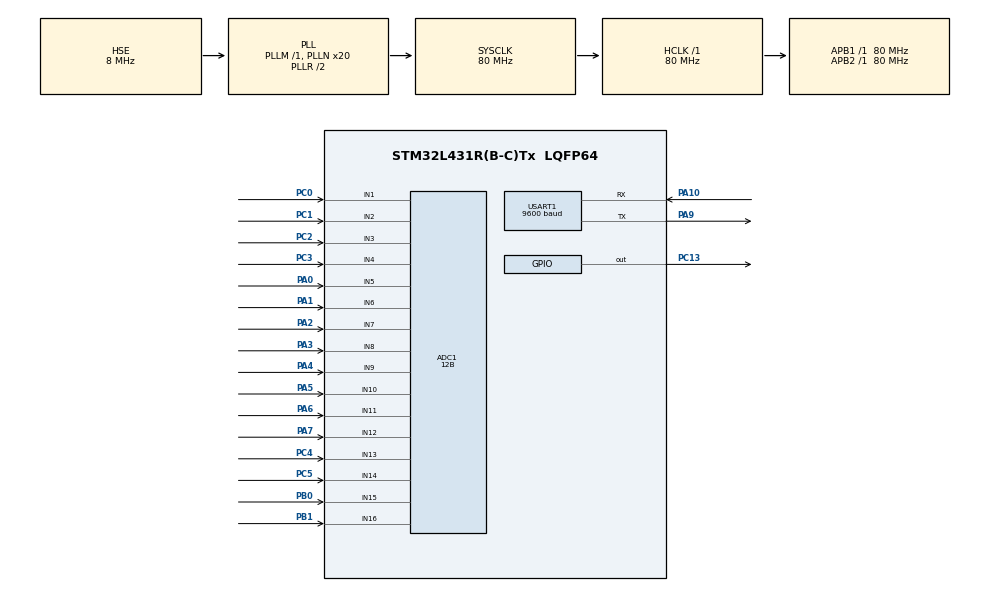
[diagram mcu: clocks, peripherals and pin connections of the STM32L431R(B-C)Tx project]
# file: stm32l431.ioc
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ADC1.Channel-0\#ChannelRegularConversion=ADC_CHANNEL_1
ADC1.Channel-1\#ChannelRegularConversion=ADC_CHANNEL_2
ADC1.Channel-10\#ChannelRegularConversion=ADC_CHANNEL_11
ADC1.Channel-11\#ChannelRegularConversion=ADC_CHANNEL_12
ADC1.Channel-12\#ChannelRegularConversion=ADC_CHANNEL_13
ADC1.Channel-13\#ChannelRegularConversion=ADC_CHANNEL_14
ADC1.Channel-14\#ChannelRegularConversion=ADC_CHANNEL_15
ADC1.Channel-15\#ChannelRegularConversion=ADC_CHANNEL_16
ADC1.Channel-2\#ChannelRegularConversion=ADC_CHANNEL_3
ADC1.Channel-3\#ChannelRegularConversion=ADC_CHANNEL_4
ADC1.Channel-4\#ChannelRegularConversion=ADC_CHANNEL_5
ADC1.Channel-5\#ChannelRegularConversion=ADC_CHANNEL_6
ADC1.Channel-6\#ChannelRegularConversion=ADC_CHANNEL_7
ADC1.Channel-7\#ChannelRegularConversion=ADC_CHANNEL_8
ADC1.Channel-8\#ChannelRegularConversion=ADC_CHANNEL_9
ADC1.Channel-9\#ChannelRegularConversion=ADC_CHANNEL_10
ADC1.ClockPrescaler=ADC_CLOCK_ASYNC_DIV2
ADC1.ContinuousConvMode=ENABLE
ADC1.DMAContinuousRequests=ENABLE
ADC1.NbrOfConversion=16
ADC1.NbrOfConversionFlag=1
ADC1.OffsetNumber-0\#ChannelRegularConversion=ADC_OFFSET_NONE
ADC1.OffsetNumber-1\#ChannelRegularConversion=ADC_OFFSET_NONE
ADC1.OffsetNumber-10\#ChannelRegularConversion=ADC_OFFSET_NONE
ADC1.OffsetNumber-11\#ChannelRegularConversion=ADC_OFFSET_NONE
ADC1.OffsetNumber-12\#ChannelRegularConversion=ADC_OFFSET_NONE
ADC1.OffsetNumber-13\#ChannelRegularConversion=ADC_OFFSET_NONE
ADC1.OffsetNumber-14\#ChannelRegularConversion=ADC_OFFSET_NONE
ADC1.OffsetNumber-15\#ChannelRegularConversion=ADC_OFFSET_NONE
ADC1.OffsetNumber-2\#ChannelRegularConversion=ADC_OFFSET_NONE
ADC1.OffsetNumber-3\#ChannelRegularConversion=ADC_OFFSET_NONE
ADC1.OffsetNumber-4\#ChannelRegularConversion=ADC_OFFSET_NONE
ADC1.OffsetNumber-5\#ChannelRegularConversion=ADC_OFFSET_NONE
ADC1.OffsetNumber-6\#ChannelRegularConversion=ADC_OFFSET_NONE
ADC1.OffsetNumber-7\#ChannelRegularConversion=ADC_OFFSET_NONE
ADC1.OffsetNumber-8\#ChannelRegularConversion=ADC_OFFSET_NONE
ADC1.OffsetNumber-9\#ChannelRegularConversion=ADC_OFFSET_NONE
ADC1.Rank-0\#ChannelRegularConversion=1
ADC1.Rank-1\#ChannelRegularConversion=2
ADC1.Rank-10\#ChannelRegularConversion=11
ADC1.Rank-11\#ChannelRegularConversion=12
ADC1.Rank-12\#ChannelRegularConversion=13
ADC1.Rank-13\#ChannelRegularConversion=14
ADC1.Rank-14\#ChannelRegularConversion=15
ADC1.Rank-15\#ChannelRegularConversion=16
ADC1.Rank-2\#ChannelRegularConversion=3
ADC1.Rank-3\#ChannelRegularConversion=4
ADC1.Rank-4\#ChannelRegularConversion=5
ADC1.Rank-5\#ChannelRegularConversion=6
ADC1.Rank-6\#ChannelRegularConversion=7
ADC1.Rank-7\#ChannelRegularConversion=8
ADC1.Rank-8\#ChannelRegularConversion=9
ADC1.Rank-9\#ChannelRegularConversion=10
ADC1.Resolution=ADC_RESOLUTION_12B
ADC1.SamplingTime-0\#ChannelRegularConversion=ADC_SAMPLETIME_2CYCLES_5
ADC1.SamplingTime-1\#ChannelRegularConversion=ADC_SAMPLETIME_2CYCLES_5
ADC1.SamplingTime-10\#ChannelRegularConversion=ADC_SAMPLETIME_2CYCLES_5
ADC1.SamplingTime-11\#ChannelRegularConversion=ADC_SAMPLETIME_2CYCLES_5
ADC1.SamplingTime-12\#ChannelRegularConversion=ADC_SAMPLETIME_2CYCLES_5
ADC1.SamplingTime-13\#ChannelRegularConversion=ADC_SAMPLETIME_2CYCLES_5
ADC1.SamplingTime-14\#ChannelRegularConversion=ADC_SAMPLETIME_2CYCLES_5
ADC1.SamplingTime-15\#ChannelRegularConversion=ADC_SAMPLETIME_2CYCLES_5
ADC1.SamplingTime-2\#ChannelRegularConversion=ADC_SAMPLETIME_2CYCLES_5
ADC1.SamplingTime-3\#ChannelRegularConversion=ADC_SAMPLETIME_2CYCLES_5
ADC1.SamplingTime-4\#ChannelRegularConversion=ADC_SAMPLETIME_2CYCLES_5
ADC1.SamplingTime-5\#ChannelRegularConversion=ADC_SAMPLETIME_2CYCLES_5
ADC1.SamplingTime-6\#ChannelRegularConversion=ADC_SAMPLETIME_2CYCLES_5
ADC1.SamplingTime-7\#ChannelRegularConversion=ADC_SAMPLETIME_2CYCLES_5
ADC1.SamplingTime-8\#ChannelRegularConversion=ADC_SAMPLETIME_2CYCLES_5
ADC1.SamplingTime-9\#ChannelRegularConversion=ADC_SAMPLETIME_2CYCLES_5
ADC1.master=1
Dma.ADC1.0.Direction=DMA_PERIPH_TO_MEMORY
Dma.ADC1.0.Instance=DMA1_Channel1
Dma.ADC1.0.MemDataAlignment=DMA_MDATAALIGN_HALFWORD
Dma.ADC1.0.MemInc=DMA_MINC_ENABLE
Dma.ADC1.0.Mode=DMA_CIRCULAR
Dma.ADC1.0.PeriphDataAlignment=DMA_PDATAALIGN_HALFWORD
Dma.ADC1.0.PeriphInc=DMA_PINC_DISABLE
Dma.ADC1.0.Priority=DMA_PRIORITY_LOW
Dma.Request0=ADC1
Mcu.Family=STM32L4
Mcu.Name=STM32L431R(B-C)Tx
Mcu.Package=LQFP64
NVIC.ADC1_IRQn=true\:0\:0\:false\:false\:true\:true\:true\:true
NVIC.DMA1_Channel1_IRQn=true\:0\:0\:false\:false\:true\:false\:true\:true
NVIC.PriorityGroup=NVIC_PRIORITYGROUP_4
NVIC.USART1_IRQn=true\:0\:0\:false\:false\:true\:true\:true\:true
PA0.Signal=ADCx_IN5
PA1.Signal=ADCx_IN6
PA10.Mode=Asynchronous
PA10.Signal=USART1_RX
PA13\ (JTMS-SWDIO).Mode=Serial_Wire
PA13\ (JTMS-SWDIO).Signal=SYS_JTMS-SWDIO
PA14\ (JTCK-SWCLK).Mode=Serial_Wire
PA14\ (JTCK-SWCLK).Signal=SYS_JTCK-SWCLK
PA2.Signal=ADCx_IN7
PA3.Signal=ADCx_IN8
PA4.Signal=ADCx_IN9
PA5.Signal=ADCx_IN10
PA6.Signal=ADCx_IN11
PA7.Signal=ADCx_IN12
PA9.Mode=Asynchronous
PA9.Signal=USART1_TX
PB0.Signal=ADCx_IN15
PB1.Signal=ADCx_IN16
PC0.Signal=ADCx_IN1
PC1.Signal=ADCx_IN2
PC13.GPIO_PuPd=GPIO_PULLUP
PC13.Signal=GPIO_Output
PC2.Signal=ADCx_IN3
PC3.Signal=ADCx_IN4
PC4.Signal=ADCx_IN13
PC5.Signal=ADCx_IN14
PH0-OSC_IN\ (PH0).Mode=HSE-External-Oscillator
PH0-OSC_IN\ (PH0).Signal=RCC_OSC_IN
PH1-OSC_OUT\ (PH1).Mode=HSE-External-Oscillator
PH1-OSC_OUT\ (PH1).Signal=RCC_OSC_OUT
ProjectManager.HeapSize=0x200
ProjectManager.StackSize=0x400
ProjectManager.TargetToolchain=STM32CubeIDE
RCC.ADCFreq_Value=32000000
RCC.AHBFreq_Value=80000000
RCC.APB1Freq_Value=80000000
RCC.APB1TimFreq_Value=80000000
RCC.APB2Freq_Value=80000000
RCC.APB2TimFreq_Value=80000000
RCC.CortexFreq_Value=80000000
RCC.HCLKFreq_Value=80000000
RCC.HSE_VALUE=8000000
RCC.HSI48_VALUE=48000000
RCC.HSI_VALUE=16000000
RCC.LSE_VALUE=32768
RCC.MSI_VALUE=4000000
RCC.PLLN=20
RCC.PLLSourceVirtual=RCC_PLLSOURCE_HSE
RCC.SYSCLKFreq_VALUE=80000000
RCC.SYSCLKSource=RCC_SYSCLKSOURCE_PLLCLK
RCC.VCOOutputFreq_Value=160000000
SH.ADCx_IN1.0=ADC1_IN1,IN1-Single-Ended
SH.ADCx_IN10.0=ADC1_IN10,IN10-Single-Ended
SH.ADCx_IN11.0=ADC1_IN11,IN11-Single-Ended
SH.ADCx_IN12.0=ADC1_IN12,IN12-Single-Ended
SH.ADCx_IN13.0=ADC1_IN13,IN13-Single-Ended
SH.ADCx_IN14.0=ADC1_IN14,IN14-Single-Ended
SH.ADCx_IN15.0=ADC1_IN15,IN15-Single-Ended
SH.ADCx_IN16.0=ADC1_IN16,IN16-Single-Ended
SH.ADCx_IN2.0=ADC1_IN2,IN2-Single-Ended
SH.ADCx_IN3.0=ADC1_IN3,IN3-Single-Ended
SH.ADCx_IN4.0=ADC1_IN4,IN4-Single-Ended
SH.ADCx_IN5.0=ADC1_IN5,IN5-Single-Ended
SH.ADCx_IN6.0=ADC1_IN6,IN6-Single-Ended
SH.ADCx_IN7.0=ADC1_IN7,IN7-Single-Ended
SH.ADCx_IN8.0=ADC1_IN8,IN8-Single-Ended
SH.ADCx_IN9.0=ADC1_IN9,IN9-Single-Ended
USART1.BaudRate=9600
USART1.VirtualMode-Asynchronous=VM_ASYNC
board=custom

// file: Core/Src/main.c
/* USER CODE BEGIN Header */
/**
  ******************************************************************************
  * @file           : main.c
  * @brief          : Main program body
  ******************************************************************************
  * @attention
  *
  * Copyright (c) 2024 STMicroelectronics.
  * All rights reserved.
  *
  * This software is licensed under terms that can be found in the LICENSE file
  * in the root directory of this software component.
  * If no LICENSE file comes with this software, it is provided AS-IS.
  *
  ******************************************************************************
  */
/* USER CODE END Header */
#include "main.h"

/* USER CODE BEGIN Includes */
#include <string.h>

//#include <stdio.h>

/* USER CODE END Includes */

/* USER CODE BEGIN PD */

#define RX_BUFFER_SIZE 2  // Adjusted to 2 for "rq"

#define OFFSET_SENSOR 3550
/*TODO: should be dynamic by sampling*/
#define MIN_IR_VALUE 0
#define MAX_IR_VALUE 70
#define WEIGHTED_1 			1
#define WEIGHTED_2 			2
#define WEIGHTED_3 			3
#define MAX_SUM_2_IR 		120
#define MAX_SUM_ALL_IR 		(2*MAX_SUM_2_IR + MAX_IR_VALUE)

/* USER CODE END PD */

ADC_HandleTypeDef hadc1;
DMA_HandleTypeDef hdma_adc1;

UART_HandleTypeDef huart1;

/* USER CODE BEGIN PV */
uint8_t rx_buffer[RX_BUFFER_SIZE];  // Buffer to hold incoming data
uint8_t READY_FLAG = 0; /*0-not ready transmit, 1-ready transmit data*/

uint8_t FLAG_UART_SEND = 0;
uint8_t ACK_UART_SEND = 1;

uint8_t data[] = "Hello World\n";
uint16_t adc_buffer[16] = {0};
int16_t after_offset[16] = {0};

int16_t SENSOR_OFFSET[16] = {3380, 3500, 3500, 3500, 3500, 3500, 3500, 3600,0,0,0,0,0,0,0,0};

uint8_t working_sensor_horizontal = 0;
uint8_t working_sensor_vertical = 0;
uint8_t working_sensor_total = 0;
int16_t horizontal_value = 0; // ---
int16_t vertical_value = 0;   //   |
int16_t last_horizon_value = 0;
int16_t last_vertical_value = 0;
uint8_t mapped_horizon_value = 0;
uint8_t mapped_vertical_value = 0;
uint8_t line_direction = 2; // 0-horizon	1-vertical	2-unknown
uint8_t directional = 1; // 1-left|2-mid|3-right

uint16_t while_counter = 0;
uint16_t sending_counter = 0;
uint16_t receive_counter = 0;

volatile uint8_t tx_data = 0;
uint8_t rx_data = 0;
const uint8_t length = 5;
uint8_t packed_data[5] = {0};

/* USER CODE END PV */

void SystemClock_Config(void);
static void MX_GPIO_Init(void);
static void MX_DMA_Init(void);
static void MX_ADC1_Init(void);
static void MX_USART1_UART_Init(void);
/* USER CODE BEGIN PFP */
int16_t ProcessLineSensor(void);
uint8_t map(int input, int input_min, int input_max, int output_min, int output_max);
void Flush_UART_RX_Buffer(UART_HandleTypeDef *huart);
void TransmitPackedData(uint8_t sensor_data, uint8_t direction, uint8_t *ack);

/* USER CODE END PFP */

int main(void)
{

  /* MCU Configuration--------------------------------------------------------*/

  /* Reset of all peripherals, Initializes the Flash interface and the Systick. */
  HAL_Init();

  /* Configure the system clock */
  SystemClock_Config();

  /* Initialize all configured peripherals */
  MX_GPIO_Init();
  MX_DMA_Init();
  MX_ADC1_Init();
  MX_USART1_UART_Init();
  /* USER CODE BEGIN 2 */
  HAL_UART_Transmit(&huart1, data, sizeof(data), 1000);
  /*sync uart signal*/
  // Timeout variables
//  uint32_t start_time = HAL_GetTick();
//  uint32_t timeout = 5000; // 5 seconds timeout
  // Loop to continuously check for 'r' character with timeout
  HAL_UART_Receive_IT(&huart1, rx_buffer, RX_BUFFER_SIZE);

  for (int i =0; i < 3; i++) {
  	  HAL_GPIO_TogglePin(GPIOC, GPIO_PIN_13);
  	  HAL_Delay(100);
    }
  HAL_Delay(1000);
  READY_FLAG = 1;/*init is done, ready to transmit*/

  /* USER CODE END 2 */

  /* Infinite loop */
  while (1)
  {

    /* USER CODE BEGIN 3 */
	HAL_ADC_Start_DMA(&hadc1, (uint32_t*)adc_buffer, 16);
//	HAL_Delay(10);
	ProcessLineSensor();

	while_counter++;
	if (while_counter >=10000) while_counter = 0;
  }
  /* USER CODE END 3 */
}

void SystemClock_Config(void)
{
  RCC_OscInitTypeDef RCC_OscInitStruct = {0};
  RCC_ClkInitTypeDef RCC_ClkInitStruct = {0};

  /** Configure the main internal regulator output voltage
  */
  if (HAL_PWREx_ControlVoltageScaling(PWR_REGULATOR_VOLTAGE_SCALE1) != HAL_OK)
  {
    Error_Handler();
  }

  /** Initializes the RCC Oscillators according to the specified parameters
  * in the RCC_OscInitTypeDef structure.
  */
  RCC_OscInitStruct.OscillatorType = RCC_OSCILLATORTYPE_HSE;
  RCC_OscInitStruct.HSEState = RCC_HSE_ON;
  RCC_OscInitStruct.PLL.PLLState = RCC_PLL_ON;
  RCC_OscInitStruct.PLL.PLLSource = RCC_PLLSOURCE_HSE;
  RCC_OscInitStruct.PLL.PLLM = 1;
  RCC_OscInitStruct.PLL.PLLN = 20;
  RCC_OscInitStruct.PLL.PLLP = RCC_PLLP_DIV7;
  RCC_OscInitStruct.PLL.PLLQ = RCC_PLLQ_DIV2;
  RCC_OscInitStruct.PLL.PLLR = RCC_PLLR_DIV2;
  if (HAL_RCC_OscConfig(&RCC_OscInitStruct) != HAL_OK)
  {
    Error_Handler();
  }

  /** Initializes the CPU, AHB and APB buses clocks
  */
  RCC_ClkInitStruct.ClockType = RCC_CLOCKTYPE_HCLK|RCC_CLOCKTYPE_SYSCLK
                              |RCC_CLOCKTYPE_PCLK1|RCC_CLOCKTYPE_PCLK2;
  RCC_ClkInitStruct.SYSCLKSource = RCC_SYSCLKSOURCE_PLLCLK;
  RCC_ClkInitStruct.AHBCLKDivider = RCC_SYSCLK_DIV1;
  RCC_ClkInitStruct.APB1CLKDivider = RCC_HCLK_DIV1;
  RCC_ClkInitStruct.APB2CLKDivider = RCC_HCLK_DIV1;

  if (HAL_RCC_ClockConfig(&RCC_ClkInitStruct, FLASH_LATENCY_4) != HAL_OK)
  {
    Error_Handler();
  }
}

static void MX_ADC1_Init(void)
{

  ADC_ChannelConfTypeDef sConfig = {0};

  /** Common config
  */
  hadc1.Instance = ADC1;
  hadc1.Init.ClockPrescaler = ADC_CLOCK_ASYNC_DIV2;
  hadc1.Init.Resolution = ADC_RESOLUTION_12B;
  hadc1.Init.DataAlign = ADC_DATAALIGN_RIGHT;
  hadc1.Init.ScanConvMode = ADC_SCAN_ENABLE;
  hadc1.Init.EOCSelection = ADC_EOC_SINGLE_CONV;
  hadc1.Init.LowPowerAutoWait = DISABLE;
  hadc1.Init.ContinuousConvMode = ENABLE;
  hadc1.Init.NbrOfConversion = 16;
  hadc1.Init.DiscontinuousConvMode = DISABLE;
  hadc1.Init.ExternalTrigConv = ADC_SOFTWARE_START;
  hadc1.Init.ExternalTrigConvEdge = ADC_EXTERNALTRIGCONVEDGE_NONE;
  hadc1.Init.DMAContinuousRequests = ENABLE;
  hadc1.Init.Overrun = ADC_OVR_DATA_PRESERVED;
  hadc1.Init.OversamplingMode = DISABLE;
  if (HAL_ADC_Init(&hadc1) != HAL_OK)
  {
    Error_Handler();
  }

  /** Configure Regular Channel
  */
  sConfig.Channel = ADC_CHANNEL_1;
  sConfig.Rank = ADC_REGULAR_RANK_1;
  sConfig.SamplingTime = ADC_SAMPLETIME_2CYCLES_5;
  sConfig.SingleDiff = ADC_SINGLE_ENDED;
  sConfig.OffsetNumber = ADC_OFFSET_NONE;
  sConfig.Offset = 0;
  if (HAL_ADC_ConfigChannel(&hadc1, &sConfig) != HAL_OK)
  {
    Error_Handler();
  }

  /** Configure Regular Channel
  */
  sConfig.Channel = ADC_CHANNEL_2;
  sConfig.Rank = ADC_REGULAR_RANK_2;
  if (HAL_ADC_ConfigChannel(&hadc1, &sConfig) != HAL_OK)
  {
    Error_Handler();
  }

  /** Configure Regular Channel
  */
  sConfig.Channel = ADC_CHANNEL_3;
  sConfig.Rank = ADC_REGULAR_RANK_3;
  if (HAL_ADC_ConfigChannel(&hadc1, &sConfig) != HAL_OK)
  {
    Error_Handler();
  }

  /** Configure Regular Channel
  */
  sConfig.Channel = ADC_CHANNEL_4;
  sConfig.Rank = ADC_REGULAR_RANK_4;
  if (HAL_ADC_ConfigChannel(&hadc1, &sConfig) != HAL_OK)
  {
    Error_Handler();
  }

  /** Configure Regular Channel
  */
  sConfig.Channel = ADC_CHANNEL_5;
  sConfig.Rank = ADC_REGULAR_RANK_5;
  if (HAL_ADC_ConfigChannel(&hadc1, &sConfig) != HAL_OK)
  {
    Error_Handler();
  }

  /** Configure Regular Channel
  */
  sConfig.Channel = ADC_CHANNEL_6;
  sConfig.Rank = ADC_REGULAR_RANK_6;
  if (HAL_ADC_ConfigChannel(&hadc1, &sConfig) != HAL_OK)
  {
    Error_Handler();
  }

  /** Configure Regular Channel
  */
  sConfig.Channel = ADC_CHANNEL_7;
  sConfig.Rank = ADC_REGULAR_RANK_7;
  if (HAL_ADC_ConfigChannel(&hadc1, &sConfig) != HAL_OK)
  {
    Error_Handler();
  }

  /** Configure Regular Channel
  */
  sConfig.Channel = ADC_CHANNEL_8;
  sConfig.Rank = ADC_REGULAR_RANK_8;
  if (HAL_ADC_ConfigChannel(&hadc1, &sConfig) != HAL_OK)
  {
    Error_Handler();
  }

  /** Configure Regular Channel
  */
  sConfig.Channel = ADC_CHANNEL_9;
  sConfig.Rank = ADC_REGULAR_RANK_9;
  if (HAL_ADC_ConfigChannel(&hadc1, &sConfig) != HAL_OK)
  {
    Error_Handler();
  }

  /** Configure Regular Channel
  */
  sConfig.Channel = ADC_CHANNEL_10;
  sConfig.Rank = ADC_REGULAR_RANK_10;
  if (HAL_ADC_ConfigChannel(&hadc1, &sConfig) != HAL_OK)
  {
    Error_Handler();
  }

  /** Configure Regular Channel
  */
  sConfig.Channel = ADC_CHANNEL_11;
  sConfig.Rank = ADC_REGULAR_RANK_11;
  if (HAL_ADC_ConfigChannel(&hadc1, &sConfig) != HAL_OK)
  {
    Error_Handler();
  }

  /** Configure Regular Channel
  */
  sConfig.Channel = ADC_CHANNEL_12;
  sConfig.Rank = ADC_REGULAR_RANK_12;
  if (HAL_ADC_ConfigChannel(&hadc1, &sConfig) != HAL_OK)
  {
    Error_Handler();
  }

  /** Configure Regular Channel
  */
  sConfig.Channel = ADC_CHANNEL_13;
  sConfig.Rank = ADC_REGULAR_RANK_13;
  if (HAL_ADC_ConfigChannel(&hadc1, &sConfig) != HAL_OK)
  {
    Error_Handler();
  }

  /** Configure Regular Channel
  */
  sConfig.Channel = ADC_CHANNEL_14;
  sConfig.Rank = ADC_REGULAR_RANK_14;
  if (HAL_ADC_ConfigChannel(&hadc1, &sConfig) != HAL_OK)
  {
    Error_Handler();
  }

  /** Configure Regular Channel
  */
  sConfig.Channel = ADC_CHANNEL_15;
  sConfig.Rank = ADC_REGULAR_RANK_15;
  if (HAL_ADC_ConfigChannel(&hadc1, &sConfig) != HAL_OK)
  {
    Error_Handler();
  }

  /** Configure Regular Channel
  */
  sConfig.Channel = ADC_CHANNEL_16;
  sConfig.Rank = ADC_REGULAR_RANK_16;
  if (HAL_ADC_ConfigChannel(&hadc1, &sConfig) != HAL_OK)
  {
    Error_Handler();
  }

}

static void MX_USART1_UART_Init(void)
{

  huart1.Instance = USART1;
  huart1.Init.BaudRate = 115200;
  huart1.Init.WordLength = UART_WORDLENGTH_8B;
  huart1.Init.StopBits = UART_STOPBITS_1;
  huart1.Init.Parity = UART_PARITY_NONE;
  huart1.Init.Mode = UART_MODE_TX_RX;
  huart1.Init.HwFlowCtl = UART_HWCONTROL_NONE;
  huart1.Init.OverSampling = UART_OVERSAMPLING_16;
  huart1.Init.OneBitSampling = UART_ONE_BIT_SAMPLE_DISABLE;
  huart1.AdvancedInit.AdvFeatureInit = UART_ADVFEATURE_NO_INIT;
  if (HAL_UART_Init(&huart1) != HAL_OK)
  {
    Error_Handler();
  }

}

static void MX_DMA_Init(void)
{

  /* DMA controller clock enable */
  __HAL_RCC_DMA1_CLK_ENABLE();

  /* DMA interrupt init */
  /* DMA1_Channel1_IRQn interrupt configuration */
  HAL_NVIC_SetPriority(DMA1_Channel1_IRQn, 0, 0);
  HAL_NVIC_EnableIRQ(DMA1_Channel1_IRQn);

}

static void MX_GPIO_Init(void)
{
  GPIO_InitTypeDef GPIO_InitStruct = {0};

  /* GPIO Ports Clock Enable */
  __HAL_RCC_GPIOC_CLK_ENABLE();
  __HAL_RCC_GPIOH_CLK_ENABLE();
  __HAL_RCC_GPIOA_CLK_ENABLE();
  __HAL_RCC_GPIOB_CLK_ENABLE();

  /*Configure GPIO pin Output Level */
  HAL_GPIO_WritePin(GPIOC, GPIO_PIN_13, GPIO_PIN_RESET);

  /*Configure GPIO pin : PC13 */
  GPIO_InitStruct.Pin = GPIO_PIN_13;
  GPIO_InitStruct.Mode = GPIO_MODE_OUTPUT_PP;
  GPIO_InitStruct.Pull = GPIO_PULLUP;
  GPIO_InitStruct.Speed = GPIO_SPEED_FREQ_LOW;
  HAL_GPIO_Init(GPIOC, &GPIO_InitStruct);

}

/* USER CODE BEGIN 4 */

uint8_t map(int input, int input_min, int input_max, int output_min, int output_max) {
    return (input - input_min) * (output_max - output_min) / (input_max - input_min) + output_min;
}

/*
 * Process 16 value of sensor data to delta e
 * Pin: 		[C0] [C1] [C2] [C3] [A0] [A1] [A2] [A3]
 * Weighted: 	-3	  -2   -1   0    0    1    2    3
 * Index:		[0]  [1]  [2]  [3]  [4]  [5]  [6]  [7]
 *
 *
 * Pin: 		[C0] [C1] [C2] [C3] [A0] [A1] [A2] [A3]
 * Weighted: 	-3	  -2   -1   0    0    1    2    3
 * Index:		[8]  [9]  [10]  [11]  [12]  [13]  [14]  [15]
 *
 *
 */
int16_t ProcessLineSensor(void) {
//	uint16_t after_offset[8];
//	int16_t horizontal_value = 0; // ---
//	int16_t vertical_value = 0;   //   |
	working_sensor_horizontal = 0;
	working_sensor_vertical = 0;
	working_sensor_total = 0;

//	sum_after_offset = 0;
	for (int i = 0; i<16; i++) {
		after_offset[i] = adc_buffer[i] - SENSOR_OFFSET[i];
		if (after_offset[i] < MIN_IR_VALUE) after_offset[i] = MIN_IR_VALUE;
		if (after_offset[i] > MAX_IR_VALUE) after_offset[i] = MAX_IR_VALUE;
//		sum_after_offset = sum_after_offset + after_offset[i];
		if (after_offset[i] >= 25)  {
			working_sensor_total++;
			if (i < 8) working_sensor_horizontal++;
			else working_sensor_vertical++;
		}
	}
	/*calculate direction of line*/
//	if (working_sensor_horizontal > working_sensor_vertical) line_direction = 0;
//	if (working_sensor_horizontal < working_sensor_vertical) line_direction = 1;

	/***********************CALCULATE FOR HORIZONTAL***************************/
	if (working_sensor_horizontal <=3 && working_sensor_horizontal >= 1) {
		/*horizon sensor array is in line*/
		if (working_sensor_horizontal == 1) {
			/*reach the boundary*/
//			if (after_offset[0] > 0) horizontal_value = -MAX_SUM_ALL_IR;
//			if (after_offset[7] > 0) horizontal_value = MAX_SUM_ALL_IR;
		}
		else {
			/*other position in line*/
			horizontal_value = 	WEIGHTED_3*(after_offset[7]-after_offset[0]) +
								WEIGHTED_2*(after_offset[6]-after_offset[1]) +
								WEIGHTED_1*(after_offset[5]-after_offset[2]);
			if (horizontal_value >  MAX_SUM_ALL_IR) horizontal_value = MAX_SUM_ALL_IR;
			if (horizontal_value < -MAX_SUM_ALL_IR) horizontal_value = -MAX_SUM_ALL_IR;
		}
		last_horizon_value = horizontal_value;
		line_direction = 0;
		directional = 1;
	}
	else {
		/*out of line or to many sensors in 1 line*/
		horizontal_value = last_horizon_value;
		line_direction = 2;
		if (horizontal_value < -200) {
			directional = 2;
		} else if (horizontal_value > 200) {
			directional = 4;
		} else {
			directional = 3;
		}
	}

	return 0;
}
/*format : [s][dir][horizon_data][vertical_data][\0]
 * [dir]: 	0: send "h" - line on horizontal sensors
 * 			1: send "v" - line on vertical sensors
 */

void TransmitPackedData(uint8_t sensor_data, uint8_t direction, uint8_t *ack) {

	/*packaging data with prefix and suffix to message*/
	/*byte[0] and byte[1]*/
//	const uint8_t buffer_len = 5;
	packed_data[0] = *(ack);
	packed_data[1] = *(ack+1); /*start frame*/
	packed_data[2] = direction;
	packed_data[3] = sensor_data;
	/*byte[2]*/

	/*byte[3]*/
//	packed_data[3] = 'e';//reserved
	packed_data[4] = '\0';

	/*send the packed data*/
//	HAL_GPIO_WritePin(GPIOC, GPIO_PIN_13, GPIO_PIN_RESET);
	HAL_UART_Transmit(&huart1, packed_data, sizeof(packed_data), 1000);
}

// Function to flush the UART RX buffer
void Flush_UART_RX_Buffer(UART_HandleTypeDef *huart) {
    uint8_t dummy;
    while (HAL_UART_Receive(huart, &dummy, 1, 10) == HAL_OK) {
        // Discard received data
    }
}

void HAL_UART_RxCpltCallback(UART_HandleTypeDef *huart){
	if (huart == &huart1) {
		// Check if received data matches "rq"
//		uint8_t *buffer = "haha\0";
//		HAL_UART_Transmit(&huart1, buffer, length, 1000);
		if (strncmp((char *)rx_buffer, "rq", (size_t)2) == 0) { //FLAG_UART_SEND
			FLAG_UART_SEND = 1;
			ACK_UART_SEND = 1; /*receive request, send ack*/
			uint8_t ack[] = "ok";
			TransmitPackedData(mapped_horizon_value, directional, ack);
			sending_counter++;
//			HAL_UART_Transmit(&huart1, ack, sizeof(ack), 100);
		} else {
			ACK_UART_SEND = 0; /*send NACK to hub*/
			uint8_t nack[] = "no";
			TransmitPackedData(mapped_horizon_value, directional, nack);
			memset(rx_buffer, 0, RX_BUFFER_SIZE);
//			HAL_UART_Transmit(&huart1, nack, sizeof(nack), 100);
		}
//		if (strncmp((char *)rx_buffer, "ef", (size_t)2) == 0){
//			FLAG_UART_SEND = 0;
//		}

//		if (FLAG_UART_SEND == 1) {
////			HAL_Delay(5);
//			// Transmit the packed data
//			if (READY_FLAG == 1) {
//				TransmitPackedData(1, mapped_horizon_value);
//				sending_counter++;
//			} else if(READY_FLAG == 0) {
//				TransmitPackedData(0, mapped_horizon_value);
//			}
//
//		}
		HAL_UART_Receive_IT(&huart1, rx_buffer, RX_BUFFER_SIZE);
		receive_counter++;
		if (receive_counter  >= 1000) receive_counter = 0;
		if (sending_counter >=1000) sending_counter =0;
	}
}

/*TODO: need to check when DMA done -> data ready
 * else send old data or waiting message!
 * */
void HAL_ADC_ConvCpltCallback(ADC_HandleTypeDef* hadc)
{
//	ProcessLineSensor();
	mapped_horizon_value = map(horizontal_value, -500, 500, 1, 101);
//	mapped_vertical_value = map(vertical_value, -500, 500, 1, 101);

}

/* USER CODE END 4 */

void Error_Handler(void)
{
  __disable_irq();
  while (1)
  {
  }
}
